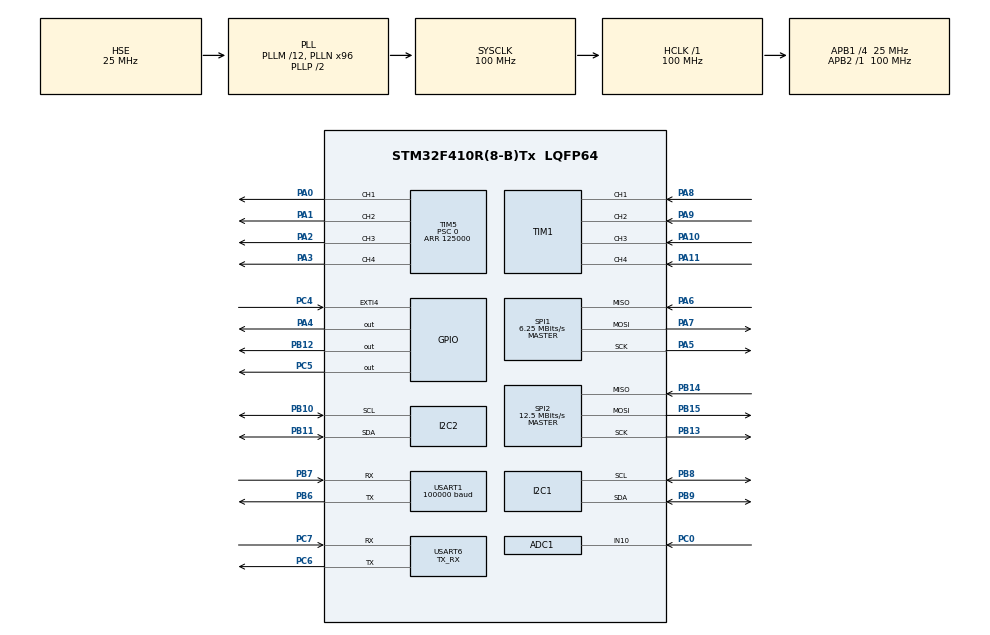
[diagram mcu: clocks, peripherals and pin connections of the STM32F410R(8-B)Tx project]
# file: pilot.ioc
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ADC1.Channel-0\#ChannelRegularConversion=ADC_CHANNEL_10
ADC1.ClockPrescaler=ADC_CLOCK_SYNC_PCLK_DIV4
ADC1.ContinuousConvMode=DISABLE
ADC1.DMAContinuousRequests=DISABLE
ADC1.DataAlign=ADC_DATAALIGN_RIGHT
ADC1.DiscontinuousConvMode=DISABLE
ADC1.EOCSelection=ADC_EOC_SINGLE_CONV
ADC1.EnableAnalogWatchDog=false
ADC1.ExternalTrigConv=ADC_SOFTWARE_START
ADC1.ExternalTrigConvEdge=ADC_EXTERNALTRIGCONVEDGE_NONE
ADC1.InjNumberOfConversion=0
ADC1.NbrOfConversion=1
ADC1.NbrOfConversionFlag=1
ADC1.Rank-0\#ChannelRegularConversion=1
ADC1.Resolution=ADC_RESOLUTION_12B
ADC1.SamplingTime-0\#ChannelRegularConversion=ADC_SAMPLETIME_3CYCLES
ADC1.ScanConvMode=DISABLE
ADC1.master=1
Dma.Request0=USART1_RX
Dma.USART1_RX.0.Direction=DMA_PERIPH_TO_MEMORY
Dma.USART1_RX.0.FIFOMode=DMA_FIFOMODE_DISABLE
Dma.USART1_RX.0.Instance=DMA2_Stream2
Dma.USART1_RX.0.MemDataAlignment=DMA_MDATAALIGN_BYTE
Dma.USART1_RX.0.MemInc=DMA_MINC_ENABLE
Dma.USART1_RX.0.Mode=DMA_NORMAL
Dma.USART1_RX.0.PeriphDataAlignment=DMA_PDATAALIGN_BYTE
Dma.USART1_RX.0.PeriphInc=DMA_PINC_DISABLE
Dma.USART1_RX.0.Priority=DMA_PRIORITY_LOW
I2C2.I2C_Mode=I2C_Fast
Mcu.Family=STM32F4
Mcu.Name=STM32F410R(8-B)Tx
Mcu.Package=LQFP64
NVIC.DMA2_Stream2_IRQn=true\:0\:0\:false\:false\:true
NVIC.EXTI4_IRQn=true\:0\:0\:false\:false\:true
NVIC.PriorityGroup=NVIC_PRIORITYGROUP_4
PA0-WKUP.Signal=S_TIM5_CH1
PA1.Signal=S_TIM5_CH2
PA10.Signal=S_TIM1_CH3
PA11.Signal=S_TIM1_CH4
PA13.Mode=JTAG_5_pins
PA13.Signal=SYS_JTMS-SWDIO
PA14.Mode=JTAG_5_pins
PA14.Signal=SYS_JTCK-SWCLK
PA15.Mode=JTAG_5_pins
PA15.Signal=SYS_JTDI
PA2.Signal=S_TIM5_CH3
PA3.Signal=S_TIM5_CH4
PA4.Signal=GPIO_Output
PA5.Mode=Full_Duplex_Master
PA5.Signal=SPI1_SCK
PA6.Mode=Full_Duplex_Master
PA6.Signal=SPI1_MISO
PA7.Mode=Full_Duplex_Master
PA7.Signal=SPI1_MOSI
PA8.Signal=S_TIM1_CH1
PA9.Signal=S_TIM1_CH2
PB10.Mode=I2C
PB10.Signal=I2C2_SCL
PB11.Mode=I2C
PB11.Signal=I2C2_SDA
PB12.Signal=GPIO_Output
PB13.Mode=Full_Duplex_Master
PB13.Signal=SPI2_SCK
PB14.Mode=Full_Duplex_Master
PB14.Signal=SPI2_MISO
PB15.Mode=Full_Duplex_Master
PB15.Signal=SPI2_MOSI
PB3.Mode=JTAG_5_pins
PB3.Signal=SYS_JTDO-SWO
PB4.Mode=JTAG_5_pins
PB4.Signal=SYS_JTRST
PB6.Mode=Asynchronous
PB6.Signal=USART1_TX
PB7.Mode=Asynchronous
PB7.Signal=USART1_RX
PB8.Mode=I2C
PB8.Signal=I2C1_SCL
PB9.Mode=I2C
PB9.Signal=I2C1_SDA
PC0.Signal=ADCx_IN10
PC4.Signal=GPXTI4
PC5.Signal=GPIO_Output
PC6.Mode=Asynchronous
PC6.Signal=USART6_TX
PC7.Mode=Asynchronous
PC7.Signal=USART6_RX
PH0\ -\ OSC_IN.Mode=HSE-External-Oscillator
PH0\ -\ OSC_IN.Signal=RCC_OSC_IN
PH1\ -\ OSC_OUT.Mode=HSE-External-Oscillator
PH1\ -\ OSC_OUT.Signal=RCC_OSC_OUT
ProjectManager.HeapSize=0x200
ProjectManager.StackSize=0x400
ProjectManager.TargetToolchain=TrueSTUDIO
RCC.48MHZClocksFreq_Value=50000000
RCC.AHBFreq_Value=100000000
RCC.APB1CLKDivider=RCC_HCLK_DIV4
RCC.APB1Freq_Value=25000000
RCC.APB1TimFreq_Value=50000000
RCC.APB2Freq_Value=100000000
RCC.APB2TimFreq_Value=100000000
RCC.CortexFreq_Value=100000000
RCC.HCLKFreq_Value=100000000
RCC.HSE_VALUE=25000000
RCC.HSI_VALUE=16000000
RCC.LSE_VALUE=32768
RCC.PLLM=12
RCC.PLLN=96
RCC.PLLSourceVirtual=RCC_PLLSOURCE_HSE
RCC.SYSCLKFreq_VALUE=100000000
RCC.SYSCLKSource=RCC_SYSCLKSOURCE_PLLCLK
RCC.VCOOutputFreq_Value=200000000
SH.ADCx_IN10.0=ADC1_IN10,IN10
SH.S_TIM1_CH1.0=TIM1_CH1,Input_Capture1_from_TI1
SH.S_TIM1_CH2.0=TIM1_CH2,Input_Capture2_from_TI2
SH.S_TIM1_CH3.0=TIM1_CH3,Input_Capture3_from_TI3
SH.S_TIM1_CH4.0=TIM1_CH4,Input_Capture4_from_TI4
SH.S_TIM5_CH1.0=TIM5_CH1,PWM Generation1 CH1
SH.S_TIM5_CH2.0=TIM5_CH2,PWM Generation2 CH2
SH.S_TIM5_CH3.0=TIM5_CH3,PWM Generation3 CH3
SH.S_TIM5_CH4.0=TIM5_CH4,PWM Generation4 CH4
SPI1.BaudRatePrescaler=SPI_BAUDRATEPRESCALER_16
SPI1.CLKPhase=SPI_PHASE_2EDGE
SPI1.CLKPolarity=SPI_POLARITY_HIGH
SPI1.CalculateBaudRate=6.25 MBits/s
SPI1.Direction=SPI_DIRECTION_2LINES
SPI1.Mode=SPI_MODE_MASTER
SPI1.VirtualType=VM_MASTER
SPI2.BaudRatePrescaler=SPI_BAUDRATEPRESCALER_2
SPI2.CalculateBaudRate=12.5 MBits/s
SPI2.Direction=SPI_DIRECTION_2LINES
SPI2.Mode=SPI_MODE_MASTER
SPI2.VirtualType=VM_MASTER
TIM1.Channel-Input_Capture1_from_TI1=TIM_CHANNEL_1
TIM1.Channel-Input_Capture2_from_TI2=TIM_CHANNEL_2
TIM1.Channel-Input_Capture3_from_TI3=TIM_CHANNEL_3
TIM1.Channel-Input_Capture4_from_TI4=TIM_CHANNEL_4
TIM5.Channel-PWM\ Generation1\ CH1=TIM_CHANNEL_1
TIM5.Channel-PWM\ Generation2\ CH2=TIM_CHANNEL_2
TIM5.Channel-PWM\ Generation3\ CH3=TIM_CHANNEL_3
TIM5.Channel-PWM\ Generation4\ CH4=TIM_CHANNEL_4
TIM5.OCPolarity_1=TIM_OCPOLARITY_HIGH
TIM5.OCPolarity_2=TIM_OCPOLARITY_HIGH
TIM5.OCPolarity_3=TIM_OCPOLARITY_HIGH
TIM5.OCPolarity_4=TIM_OCPOLARITY_HIGH
TIM5.Period=125000
TIM5.Prescaler=0
USART1.BaudRate=100000
USART1.Mode=MODE_RX
USART1.Parity=PARITY_EVEN
USART1.StopBits=STOPBITS_2
USART1.VirtualMode=VM_ASYNC
USART1.WordLength=WORDLENGTH_9B
USART6.Mode=MODE_TX_RX
USART6.VirtualMode=VM_ASYNC
board=pilot

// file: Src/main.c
/**
  ******************************************************************************
  * File Name          : main.c
  * Description        : Main program body
  ******************************************************************************
  *
  * COPYRIGHT(c) 2017 STMicroelectronics
  *
  * Redistribution and use in source and binary forms, with or without modification,
  * are permitted provided that the following conditions are met:
  *   1. Redistributions of source code must retain the above copyright notice,
  *      this list of conditions and the following disclaimer.
  *   2. Redistributions in binary form must reproduce the above copyright notice,
  *      this list of conditions and the following disclaimer in the documentation
  *      and/or other materials provided with the distribution.
  *   3. Neither the name of STMicroelectronics nor the names of its contributors
  *      may be used to endorse or promote products derived from this software
  *      without specific prior written permission.
  *
  * THIS SOFTWARE IS PROVIDED BY THE COPYRIGHT HOLDERS AND CONTRIBUTORS "AS IS"
  * AND ANY EXPRESS OR IMPLIED WARRANTIES, INCLUDING, BUT NOT LIMITED TO, THE
  * IMPLIED WARRANTIES OF MERCHANTABILITY AND FITNESS FOR A PARTICULAR PURPOSE ARE
  * DISCLAIMED. IN NO EVENT SHALL THE COPYRIGHT HOLDER OR CONTRIBUTORS BE LIABLE
  * FOR ANY DIRECT, INDIRECT, INCIDENTAL, SPECIAL, EXEMPLARY, OR CONSEQUENTIAL
  * DAMAGES (INCLUDING, BUT NOT LIMITED TO, PROCUREMENT OF SUBSTITUTE GOODS OR
  * SERVICES; LOSS OF USE, DATA, OR PROFITS; OR BUSINESS INTERRUPTION) HOWEVER
  * CAUSED AND ON ANY THEORY OF LIABILITY, WHETHER IN CONTRACT, STRICT LIABILITY,
  * OR TORT (INCLUDING NEGLIGENCE OR OTHERWISE) ARISING IN ANY WAY OUT OF THE USE
  * OF THIS SOFTWARE, EVEN IF ADVISED OF THE POSSIBILITY OF SUCH DAMAGE.
  *
  ******************************************************************************
  */
#include "main.h"
#include "stm32f4xx_hal.h"

/* USER CODE BEGIN Includes */

#include <string.h>

#include "ICM20689.h"
#include "MS5637.h"
#include "AxisFusion.h"
#include "Common.h"
#include "Quaternion.h"
#include "Motors.h"
#include "PID.h"

/* USER CODE END Includes */

ADC_HandleTypeDef hadc1;

I2C_HandleTypeDef hi2c1;
I2C_HandleTypeDef hi2c2;

SPI_HandleTypeDef hspi1;
SPI_HandleTypeDef hspi2;

TIM_HandleTypeDef htim1;
TIM_HandleTypeDef htim5;

UART_HandleTypeDef huart1;
UART_HandleTypeDef huart6;
DMA_HandleTypeDef hdma_usart1_rx;

void SystemClock_Config(void);
void Error_Handler(void);
static void MX_GPIO_Init(void);
static void MX_DMA_Init(void);
static void MX_I2C1_Init(void);
static void MX_SPI1_Init(void);
static void MX_SPI2_Init(void);
static void MX_TIM1_Init(void);
static void MX_TIM5_Init(void);
static void MX_USART1_UART_Init(void);
static void MX_USART6_UART_Init(void);
static void MX_I2C2_Init(void);
static void MX_ADC1_Init(void);

void HAL_TIM_MspPostInit(TIM_HandleTypeDef *htim);

/* USER CODE BEGIN 0 */

static const float Kp = 3.0f;
static const float Ki = 0.08f;
static const float Kd = 10.0f;
static const float i_limit = 100.0f;

static const float Kp_yaw = 8.0f;
static const float Ki_yaw = 0.4f;
static const float Kd_yaw = 0.0f;
static const float i_limit_yaw = 40.0f;

static const float _control_angle = 30.0f;
static const float _yaw_max_rate = 60.0f;

static volatile uint8_t _imu_data_ready = 0;
static volatile uint16_t _missed_imu_data = 0;

static float _orientation[4] = { 1.0f, 0.0f, 0.0f, 0.0f }; // Quaternion
static float _reference_orientation[4] = { 1.0f, 0.0f, 0.0f, 0.0f };

static uint16_t _throttle = 0;
static float _target_yaw_rate = 0.0f;
static float _target_pitch = 0.0f;
static float _target_roll = 0.0f;

static PID _pid_pitch;
static PID _pid_roll;
static PID _pid_yaw;

static volatile uint8_t _receiver_data_ready = 0;
static volatile struct
{
	uint16_t channels[16];
	uint8_t fail_safe;
} _receiver_data;

#define BATTERY_VOLTAGE_PERIOD		1000
#define BATTERY_LOW_THRESHOLD		10.8f
#define BATTERY_VOLTAGE_MULTIPLIER	3.794f
#define THROTTLE_THRESHOLD			150

#define SBUS_CHANNEL_MIN 				172
#define SBUS_CHANNEL_MAX 				1811
#define SBUS_CHANENL_RANGE				(SBUS_CHANNEL_MAX - SBUS_CHANNEL_MIN)

void HAL_GPIO_EXTI_Callback(uint16_t GPIO_Pin)
{
	if (GPIO_Pin == GPIO_PIN_4)
	{
		// TODO need to disable interrupts before doing SPI stuff?

		if (!_imu_data_ready)
		{
			if (ICM20689_DataReady())
				_imu_data_ready = 1;
		}
		else
		{
			_missed_imu_data++;
		}

		// TODO handle cases where the interrupt was generated because of another reason...
	}
}

static uint8_t _uart_rx_data_buffer[32];
static uint8_t _uart_tx_data_buffer[32];

void HAL_UART_RxCpltCallback(UART_HandleTypeDef* huart)
{
	if (!_receiver_data_ready)
	{
		if (_uart_rx_data_buffer[0] == 0x0F && _uart_rx_data_buffer[24] == 0x00)
		{
			uint8_t* payload = &_uart_rx_data_buffer[1];

			_receiver_data.channels[0]  = (uint16_t)((payload[0]    | payload[1] << 8) & 0x07FF);
			_receiver_data.channels[1]  = (uint16_t)((payload[1] >> 3 | payload[2] << 5) & 0x07FF);
			_receiver_data.channels[2]  = (uint16_t)((payload[2] >> 6 | payload[3] << 2 | payload[4] << 10) & 0x07FF);
			_receiver_data.channels[3]  = (uint16_t)((payload[4] >> 1 | payload[5] << 7) & 0x07FF);
			_receiver_data.channels[4]  = (uint16_t)((payload[5] >> 4 | payload[6] << 4) & 0x07FF);
			_receiver_data.channels[5]  = (uint16_t)((payload[6] >> 7 | payload[7] << 1 | payload[8] << 9) & 0x07FF);
			_receiver_data.channels[6]  = (uint16_t)((payload[8] >> 2 | payload[9] << 6) & 0x07FF);
			_receiver_data.channels[7]  = (uint16_t)((payload[9] >> 5 | payload[10] << 3) & 0x07FF);
			_receiver_data.channels[8]  = (uint16_t)((payload[11]   | payload[12] << 8) & 0x07FF);
			_receiver_data.channels[9]  = (uint16_t)((payload[12] >> 3 | payload[13] << 5) & 0x07FF);
			_receiver_data.channels[10] = (uint16_t)((payload[13] >> 6 | payload[14] << 2 | payload[15] << 10) & 0x07FF);
			_receiver_data.channels[11] = (uint16_t)((payload[15] >> 1 | payload[16] << 7) & 0x07FF);
			_receiver_data.channels[12] = (uint16_t)((payload[16] >> 4 | payload[17] << 4) & 0x07FF);
			_receiver_data.channels[13] = (uint16_t)((payload[17] >> 7 | payload[18] << 1 | payload[19] << 9) & 0x07FF);
			_receiver_data.channels[14] = (uint16_t)((payload[19] >> 2 | payload[20] << 6) & 0x07FF);
			_receiver_data.channels[15] = (uint16_t)((payload[20] >> 5 | payload[21] << 3) & 0x07FF);

			_receiver_data.fail_safe = (payload[22] & 0x08);

			_receiver_data_ready = 1;
		}
	}
	else
	{
		// TODO increment some dropped counter
	}

	// TODO can this be replaced by configuring the DMA as circular?
	HAL_UART_Receive_DMA(&huart1, _uart_rx_data_buffer, 25);
}

static void CalculateBias(float* gyro_bias, float* accel_bias);

/* USER CODE END 0 */

int main(void)
{

  /* MCU Configuration----------------------------------------------------------*/

  /* Reset of all peripherals, Initializes the Flash interface and the Systick. */
	HAL_Init();

	  /* Configure the system clock */
	SystemClock_Config();

	  /* Initialize all configured peripherals */
	MX_GPIO_Init();
	MX_DMA_Init();
	MX_I2C1_Init();
	MX_SPI1_Init();
	MX_SPI2_Init();
	MX_TIM1_Init();
	MX_TIM5_Init();
	MX_USART1_UART_Init();
	MX_USART6_UART_Init();
	MX_I2C2_Init();
	MX_ADC1_Init();

	  /* USER CODE BEGIN 2 */
	Motors_Init(&htim5);

	uint8_t error = ICM20689_Init(&hspi1, GPIOA, GPIO_PIN_4);

	if (error)
	{
		while (1)
		{
			HAL_GPIO_TogglePin(GPIOC, GPIO_PIN_5);
			HAL_Delay(500);
		}
	}

	_pid_pitch.kp = Kp;
	_pid_pitch.ki = Ki;
	_pid_pitch.kd = Kd;
	_pid_pitch.i_limit = i_limit;
	_pid_pitch.error_sum = 0.0f;
	_pid_pitch.last_error = 0.0f;
	_pid_pitch.error = 0.0f;
	_pid_pitch.error_rate = 0.0f;

	_pid_roll.kp = Kp;
	_pid_roll.ki = Ki;
	_pid_roll.kd = Kd;
	_pid_roll.i_limit = i_limit;
	_pid_roll.error_sum = 0.0f;
	_pid_roll.last_error = 0.0f;
	_pid_roll.error = 0.0f;
	_pid_roll.error_rate = 0.0f;

	_pid_yaw.kp = Kp_yaw;
	_pid_yaw.ki = Ki_yaw;
	_pid_yaw.kd = Kd_yaw;
	_pid_yaw.i_limit = i_limit_yaw;
	_pid_yaw.error_sum = 0.0f;
	_pid_yaw.last_error = 0.0f;
	_pid_yaw.error = 0.0f;
	_pid_yaw.error_rate = 0.0f;

  /* USER CODE END 2 */

  /* Infinite loop */

  /* USER CODE BEGIN 3 */

	float gyro_bias[3] = { 0.503540, 1.441956, 0.129700 };
	float accel_bias[3] = { -0.000305, -0.004944, 0.017456 };
//	CalculateBias(gyro_bias, accel_bias);
//
//	uint8_t output[128] = { 0 };
//	sprintf((char*)output, "%f, %f, %f\r\n%f, %f, %f\r\n", gyro_bias[0], gyro_bias[1], gyro_bias[2], accel_bias[0], accel_bias[1], accel_bias[2]);
//	HAL_UART_Transmit(&huart6, output, strlen((char*)output), 100);

	gyro_bias[0] *= -1;
	gyro_bias[1] *= -1;
	gyro_bias[2] *= -1;
	ICM20689_SetLocalGyroBias(gyro_bias);

	accel_bias[0] *= -1;
	accel_bias[1] *= -1;
	accel_bias[2] *= -1;
	ICM20689_SetLocalAccelBias(accel_bias);

	// SBUS is sending every 4 ms, so we wait to synchronize

	while (1)
	{
		if (HAL_TIMEOUT == HAL_UART_Receive(&huart1, _uart_rx_data_buffer, 1, 2))
		{
			HAL_UART_Receive_DMA(&huart1, _uart_rx_data_buffer, 25);
			break;
		}
	}

	uint8_t fail_safe = 1;

	uint32_t now = HAL_GetTick();
	uint32_t last = now;

	uint32_t battery_voltage_timer = 0;
	uint32_t test_timer = 0;
	uint32_t hz_timer = 0;

	uint32_t hz_counter = 0;

	uint8_t cmd;

	// Barometer test

	//MS5637_Init(&hi2c2, 0x76);

//	cmd = 0x1E;
//	if (HAL_I2C_Master_Transmit(&hi2c2, 0b11101100, &cmd, 1, 100) != HAL_OK)
//	{
//		while (1)
//		{
//			HAL_GPIO_TogglePin(GPIOC, GPIO_PIN_5);
//			HAL_Delay(500);
//		}
//	}
//
//	cmd = 0xA0;
//	HAL_I2C_Master_Transmit(&hi2c2, 0b11101100, &cmd, 1, 100);
//	uint16_t data = 0;
//	HAL_I2C_Master_Receive(&hi2c2, 0b11101101, (uint8_t*)&data, 2, 100);

	// Magnetometer test

//	cmd = 0x07;
//	HAL_I2C_Master_Transmit(&hi2c2, 0x0E << 1, &cmd, 1, 100);
//	uint8_t id = 0;
//	HAL_I2C_Master_Receive(&hi2c2, (0x0E << 1) | 0x01, (uint8_t*)&id, 1, 100);

	float battery_voltage = 12.6f;
	float battery_voltage_idle = 12.6f;

	// TODO intialize those with actual values from the ADC

	while (1)
	{
		now = HAL_GetTick(); // TODO handle rollover
		uint32_t dt_ms = now - last;
		last = now;

		battery_voltage_timer += dt_ms;
		test_timer += dt_ms;
		hz_timer += dt_ms;

		if (_receiver_data_ready)
		{
			uint16_t throttle = ((_receiver_data.channels[0] - SBUS_CHANNEL_MIN) / (float)SBUS_CHANENL_RANGE) * 1000.0f;

			if (throttle > 800)
				_throttle = 800;
			else
				_throttle = throttle;

//
//			if (throttle > 500)
//				throttle = 1000;
//			else
//				throttle = 0;
//
//			float motors[4];
//
//			motors[0] = throttle; // Back Right
//			motors[1] = throttle; // Back Left
//			motors[2] = throttle; // Front Right
//			motors[3] = throttle; // Front Left
//
//			Motors_Set(motors);

			_target_yaw_rate = ((_receiver_data.channels[3] - SBUS_CHANNEL_MIN) * (_yaw_max_rate / SBUS_CHANENL_RANGE)) - (_yaw_max_rate / 2.0f);
			_target_pitch = ((_receiver_data.channels[2] - SBUS_CHANNEL_MIN) * (_control_angle / SBUS_CHANENL_RANGE)) - (_control_angle / 2.0f);
			_target_roll = ((_receiver_data.channels[1] - SBUS_CHANNEL_MIN) * (_control_angle / SBUS_CHANENL_RANGE)) - (_control_angle / 2.0f);

			_target_yaw_rate *= -1;

			fail_safe = _receiver_data.fail_safe;

//			if (test_timer >= 10)
//			{
//				test_timer = 0;
//				uint8_t output[32] = { 0 };
//				sprintf((char*)output, "%f, %f, %f\r\n", _target_pitch, _target_yaw_rate, _target_roll);
//				HAL_UART_Transmit(&huart6, output, strlen((char*)output), 100);
//			}

			_receiver_data_ready = 0;
		}

//		if (test_timer >= 10)
//		{
//			test_timer = 0;
//			uint8_t output[64] = { 0 };
//			sprintf((char*)output, "%d, %d\r\n", fail_safe, _throttle);
//			HAL_UART_Transmit(&huart6, output, strlen((char*)output), 1000);
//		}

		if (fail_safe)
		{
			float motors[4] = { 0 };
			Motors_Set(motors);
			continue;
		}

//		if (battery_voltage_timer >= BATTERY_VOLTAGE_PERIOD)
//		{
//			battery_voltage_timer = 0;
//
//			HAL_StatusTypeDef status = HAL_ADC_Start(&hadc1);
//			status = HAL_ADC_PollForConversion(&hadc1, 10);
//
//			if (status != HAL_TIMEOUT)
//			{
//				uint32_t val = HAL_ADC_GetValue(&hadc1);
//				float voltage = (3.3f / 4096.0f) * val;
//				battery_voltage = voltage * BATTERY_VOLTAGE_MULTIPLIER;
//
//				if (_throttle < THROTTLE_THRESHOLD)
//					battery_voltage_idle = voltage * BATTERY_VOLTAGE_MULTIPLIER;
//
////				uint8_t output[64] = { 0 };
////				sprintf((char*)output, "%d, %f, %f\r\n", _throttle, battery_voltage, battery_voltage_idle);
////				HAL_UART_Transmit(&huart6, output, strlen((char*)output), 1000);
//
//				// TODO averaging samples?
//			}
//			else
//			{
//				battery_voltage = 0.0f;
//			}
//
//			HAL_ADC_Stop(&hadc1);
//		}

//		if (battery_voltage_idle <= BATTERY_LOW_THRESHOLD)
//		{
//			float motors[4] = { 0 };
//			Motors_Set(motors);
//
//			HAL_GPIO_WritePin(GPIOC, GPIO_PIN_5, GPIO_PIN_SET);
//			HAL_Delay(200);
//			HAL_GPIO_WritePin(GPIOC, GPIO_PIN_5, GPIO_PIN_RESET);
//			HAL_Delay(200);
//			HAL_GPIO_WritePin(GPIOC, GPIO_PIN_5, GPIO_PIN_SET);
//			HAL_Delay(200);
//			HAL_GPIO_WritePin(GPIOC, GPIO_PIN_5, GPIO_PIN_RESET);
//			HAL_Delay(1000);
//		}

		if (_imu_data_ready)
		{
			_imu_data_ready = 0;

			float gyro[3];
			float accel[3];
			ICM20689_ReadGyro(gyro);
			ICM20689_ReadAccel(accel);
//
//			hz_counter++;
//
//			if (hz_timer >= 1000)
//			{
//				hz_timer = 0;
//				uint8_t output[16] = { 0 };
//				sprintf((char*)output, "%d\r\n", hz_counter);
//				hz_counter = 0;
//				HAL_UART_Transmit(&huart6, output, strlen((char*)output), 100);
//			}

			AxisFusion_MahonyAHRSupdateIMU(_orientation, gyro[0]*PI / 180.0f, gyro[1]*PI / 180.0f, gyro[2]*PI / 180.0f, accel[0], accel[1], accel[2]);

			float quat[4];
			Quaternion_Multiply(_reference_orientation, _orientation, quat);

			float pitch, roll, yaw;
			Quaternion_ToEuler(quat, &pitch, &roll, &yaw);

			pitch *= 180.0f / PI;
			yaw *= 180.0f / PI;
			roll *= 180.0f / PI;

//			if (test_timer >= 100)
//			{
//				test_timer = 0;
//				uint8_t output[32] = { 0 };
//				sprintf((char*)output, "%.2f, %.2f, %.2f\r\n", pitch, yaw, roll);
//				HAL_UART_Transmit(&huart6, output, strlen((char*)output), 100);
//			}

			float output_pitch = 0.0f;
			float output_roll = 0.0f;
			float output_yaw = 0.0f;

			float dt_ms = 0.01f; // TODO IMPORTANTTTTTTTTTTTTTTTTTTTTTTTTTTTTTTTTTTTTTTTTTTTTTTTTTTTTTTTTTTTTTTTTTTTTT

			if (_throttle >= THROTTLE_THRESHOLD)
			{
				output_pitch = PID_Compute(&_pid_pitch, _target_pitch, pitch, dt_ms);
				output_roll = PID_Compute(&_pid_roll, _target_roll, roll, dt_ms);
				output_yaw = PID_Compute(&_pid_yaw, _target_yaw_rate, gyro[2] * (PI / 180.0f), dt_ms);
			}
			else
			{
				_pid_pitch.error_sum = 0.0f;
				_pid_roll.error_sum = 0.0f;
				_pid_yaw.error_sum = 0.0f;
			}

			float motors[4];

			motors[0] = _throttle + output_pitch - output_roll + output_yaw; // Back Right
			motors[1] = _throttle + output_pitch + output_roll - output_yaw; // Back Left
			motors[2] = _throttle - output_pitch - output_roll - output_yaw; // Front Right
			motors[3] = _throttle - output_pitch + output_roll + output_yaw; // Front Left

			Motors_Set(motors);

//			if (test_timer >= 10)
//			{
//				test_timer = 0;
//				uint8_t output[64] = { 0 };
//				sprintf((char*)output, "%.2f, %.2f, %.2f\r\n", output_pitch, output_roll, output_yaw);
//				HAL_UART_Transmit(&huart6, output, strlen((char*)output), 1000);
//			}

//			if (test_timer >= 10)
//			{
//				test_timer = 0;
//				uint8_t output[64] = { 0 };
//				sprintf((char*)output, "%.2f, %.2f, %.2f, %.2f\n", motors[0], motors[1], motors[2], motors[3]);
//				HAL_UART_Transmit(&huart6, output, strlen((char*)output), 1000);
//			}

		}
	}

  /* USER CODE END 3 */

}

/** System Clock Configuration
*/
void SystemClock_Config(void)
{

	RCC_OscInitTypeDef RCC_OscInitStruct;
	RCC_ClkInitTypeDef RCC_ClkInitStruct;

	    /**Configure the main internal regulator output voltage
	    */
	__HAL_RCC_PWR_CLK_ENABLE();

	__HAL_PWR_VOLTAGESCALING_CONFIG(PWR_REGULATOR_VOLTAGE_SCALE1);

	    /**Initializes the CPU, AHB and APB busses clocks
	    */
	RCC_OscInitStruct.OscillatorType = RCC_OSCILLATORTYPE_HSE;
	RCC_OscInitStruct.HSEState = RCC_HSE_ON;
	RCC_OscInitStruct.PLL.PLLState = RCC_PLL_ON;
	RCC_OscInitStruct.PLL.PLLSource = RCC_PLLSOURCE_HSE;
	RCC_OscInitStruct.PLL.PLLM = 12;
	RCC_OscInitStruct.PLL.PLLN = 96;
	RCC_OscInitStruct.PLL.PLLP = RCC_PLLP_DIV2;
	RCC_OscInitStruct.PLL.PLLQ = 4;
	RCC_OscInitStruct.PLL.PLLR = 2;
	if (HAL_RCC_OscConfig(&RCC_OscInitStruct) != HAL_OK)
	{
		Error_Handler();
	}

	    /**Initializes the CPU, AHB and APB busses clocks
	    */
	RCC_ClkInitStruct.ClockType = RCC_CLOCKTYPE_HCLK | RCC_CLOCKTYPE_SYSCLK
	                            | RCC_CLOCKTYPE_PCLK1 | RCC_CLOCKTYPE_PCLK2;
	RCC_ClkInitStruct.SYSCLKSource = RCC_SYSCLKSOURCE_PLLCLK;
	RCC_ClkInitStruct.AHBCLKDivider = RCC_SYSCLK_DIV1;
	RCC_ClkInitStruct.APB1CLKDivider = RCC_HCLK_DIV4;
	RCC_ClkInitStruct.APB2CLKDivider = RCC_HCLK_DIV1;

	if (HAL_RCC_ClockConfig(&RCC_ClkInitStruct, FLASH_LATENCY_3) != HAL_OK)
	{
		Error_Handler();
	}

	    /**Configure the Systick interrupt time
	    */
	HAL_SYSTICK_Config(HAL_RCC_GetHCLKFreq() / 1000);

	    /**Configure the Systick
	    */
	HAL_SYSTICK_CLKSourceConfig(SYSTICK_CLKSOURCE_HCLK);

	  /* SysTick_IRQn interrupt configuration */
	HAL_NVIC_SetPriority(SysTick_IRQn, 0, 0);
}

/* ADC1 init function */
static void MX_ADC1_Init(void)
{

	ADC_ChannelConfTypeDef sConfig;

	    /**Configure the global features of the ADC (Clock, Resolution, Data Alignment and number of conversion)
	    */
	hadc1.Instance = ADC1;
	hadc1.Init.ClockPrescaler = ADC_CLOCK_SYNC_PCLK_DIV4;
	hadc1.Init.Resolution = ADC_RESOLUTION_12B;
	hadc1.Init.ScanConvMode = DISABLE;
	hadc1.Init.ContinuousConvMode = DISABLE;
	hadc1.Init.DiscontinuousConvMode = DISABLE;
	hadc1.Init.ExternalTrigConvEdge = ADC_EXTERNALTRIGCONVEDGE_NONE;
	hadc1.Init.ExternalTrigConv = ADC_SOFTWARE_START;
	hadc1.Init.DataAlign = ADC_DATAALIGN_RIGHT;
	hadc1.Init.NbrOfConversion = 1;
	hadc1.Init.DMAContinuousRequests = DISABLE;
	hadc1.Init.EOCSelection = ADC_EOC_SINGLE_CONV;
	if (HAL_ADC_Init(&hadc1) != HAL_OK)
	{
		Error_Handler();
	}

	    /**Configure for the selected ADC regular channel its corresponding rank in the sequencer and its sample time.
	    */
	sConfig.Channel = ADC_CHANNEL_10;
	sConfig.Rank = 1;
	sConfig.SamplingTime = ADC_SAMPLETIME_3CYCLES;
	if (HAL_ADC_ConfigChannel(&hadc1, &sConfig) != HAL_OK)
	{
		Error_Handler();
	}

}

/* I2C1 init function */
static void MX_I2C1_Init(void)
{

	hi2c1.Instance = I2C1;
	hi2c1.Init.ClockSpeed = 100000;
	hi2c1.Init.DutyCycle = I2C_DUTYCYCLE_2;
	hi2c1.Init.OwnAddress1 = 0;
	hi2c1.Init.AddressingMode = I2C_ADDRESSINGMODE_7BIT;
	hi2c1.Init.DualAddressMode = I2C_DUALADDRESS_DISABLE;
	hi2c1.Init.OwnAddress2 = 0;
	hi2c1.Init.GeneralCallMode = I2C_GENERALCALL_DISABLE;
	hi2c1.Init.NoStretchMode = I2C_NOSTRETCH_DISABLE;
	if (HAL_I2C_Init(&hi2c1) != HAL_OK)
	{
		Error_Handler();
	}

}

/* I2C2 init function */
static void MX_I2C2_Init(void)
{

	hi2c2.Instance = I2C2;
	hi2c2.Init.ClockSpeed = 400000;
	hi2c2.Init.DutyCycle = I2C_DUTYCYCLE_2;
	hi2c2.Init.OwnAddress1 = 0;
	hi2c2.Init.AddressingMode = I2C_ADDRESSINGMODE_7BIT;
	hi2c2.Init.DualAddressMode = I2C_DUALADDRESS_DISABLE;
	hi2c2.Init.OwnAddress2 = 0;
	hi2c2.Init.GeneralCallMode = I2C_GENERALCALL_DISABLE;
	hi2c2.Init.NoStretchMode = I2C_NOSTRETCH_DISABLE;
	if (HAL_I2C_Init(&hi2c2) != HAL_OK)
	{
		Error_Handler();
	}

}

/* SPI1 init function */
static void MX_SPI1_Init(void)
{

	hspi1.Instance = SPI1;
	hspi1.Init.Mode = SPI_MODE_MASTER;
	hspi1.Init.Direction = SPI_DIRECTION_2LINES;
	hspi1.Init.DataSize = SPI_DATASIZE_8BIT;
	hspi1.Init.CLKPolarity = SPI_POLARITY_HIGH;
	hspi1.Init.CLKPhase = SPI_PHASE_2EDGE;
	hspi1.Init.NSS = SPI_NSS_SOFT;
	hspi1.Init.BaudRatePrescaler = SPI_BAUDRATEPRESCALER_16;
	hspi1.Init.FirstBit = SPI_FIRSTBIT_MSB;
	hspi1.Init.TIMode = SPI_TIMODE_DISABLE;
	hspi1.Init.CRCCalculation = SPI_CRCCALCULATION_DISABLE;
	hspi1.Init.CRCPolynomial = 15;
	if (HAL_SPI_Init(&hspi1) != HAL_OK)
	{
		Error_Handler();
	}

}

/* SPI2 init function */
static void MX_SPI2_Init(void)
{

	hspi2.Instance = SPI2;
	hspi2.Init.Mode = SPI_MODE_MASTER;
	hspi2.Init.Direction = SPI_DIRECTION_2LINES;
	hspi2.Init.DataSize = SPI_DATASIZE_8BIT;
	hspi2.Init.CLKPolarity = SPI_POLARITY_LOW;
	hspi2.Init.CLKPhase = SPI_PHASE_1EDGE;
	hspi2.Init.NSS = SPI_NSS_SOFT;
	hspi2.Init.BaudRatePrescaler = SPI_BAUDRATEPRESCALER_2;
	hspi2.Init.FirstBit = SPI_FIRSTBIT_MSB;
	hspi2.Init.TIMode = SPI_TIMODE_DISABLE;
	hspi2.Init.CRCCalculation = SPI_CRCCALCULATION_DISABLE;
	hspi2.Init.CRCPolynomial = 15;
	if (HAL_SPI_Init(&hspi2) != HAL_OK)
	{
		Error_Handler();
	}

}

/* TIM1 init function */
static void MX_TIM1_Init(void)
{

	TIM_MasterConfigTypeDef sMasterConfig;
	TIM_IC_InitTypeDef sConfigIC;

	htim1.Instance = TIM1;
	htim1.Init.Prescaler = 0;
	htim1.Init.CounterMode = TIM_COUNTERMODE_UP;
	htim1.Init.Period = 0;
	htim1.Init.ClockDivision = TIM_CLOCKDIVISION_DIV1;
	htim1.Init.RepetitionCounter = 0;
	if (HAL_TIM_IC_Init(&htim1) != HAL_OK)
	{
		Error_Handler();
	}

	sMasterConfig.MasterOutputTrigger = TIM_TRGO_RESET;
	sMasterConfig.MasterSlaveMode = TIM_MASTERSLAVEMODE_DISABLE;
	if (HAL_TIMEx_MasterConfigSynchronization(&htim1, &sMasterConfig) != HAL_OK)
	{
		Error_Handler();
	}

	sConfigIC.ICPolarity = TIM_INPUTCHANNELPOLARITY_RISING;
	sConfigIC.ICSelection = TIM_ICSELECTION_DIRECTTI;
	sConfigIC.ICPrescaler = TIM_ICPSC_DIV1;
	sConfigIC.ICFilter = 0;
	if (HAL_TIM_IC_ConfigChannel(&htim1, &sConfigIC, TIM_CHANNEL_1) != HAL_OK)
	{
		Error_Handler();
	}

	if (HAL_TIM_IC_ConfigChannel(&htim1, &sConfigIC, TIM_CHANNEL_2) != HAL_OK)
	{
		Error_Handler();
	}

	if (HAL_TIM_IC_ConfigChannel(&htim1, &sConfigIC, TIM_CHANNEL_3) != HAL_OK)
	{
		Error_Handler();
	}

	if (HAL_TIM_IC_ConfigChannel(&htim1, &sConfigIC, TIM_CHANNEL_4) != HAL_OK)
	{
		Error_Handler();
	}

}

/* TIM5 init function */
static void MX_TIM5_Init(void)
{

	TIM_MasterConfigTypeDef sMasterConfig;
	TIM_OC_InitTypeDef sConfigOC;

	htim5.Instance = TIM5;
	htim5.Init.Prescaler = 0;
	htim5.Init.CounterMode = TIM_COUNTERMODE_UP;
	htim5.Init.Period = 125000;
	htim5.Init.ClockDivision = TIM_CLOCKDIVISION_DIV1;
	if (HAL_TIM_PWM_Init(&htim5) != HAL_OK)
	{
		Error_Handler();
	}

	sMasterConfig.MasterOutputTrigger = TIM_TRGO_RESET;
	sMasterConfig.MasterSlaveMode = TIM_MASTERSLAVEMODE_DISABLE;
	if (HAL_TIMEx_MasterConfigSynchronization(&htim5, &sMasterConfig) != HAL_OK)
	{
		Error_Handler();
	}

	sConfigOC.OCMode = TIM_OCMODE_PWM1;
	sConfigOC.Pulse = 0;
	sConfigOC.OCPolarity = TIM_OCPOLARITY_HIGH;
	sConfigOC.OCFastMode = TIM_OCFAST_DISABLE;
	if (HAL_TIM_PWM_ConfigChannel(&htim5, &sConfigOC, TIM_CHANNEL_1) != HAL_OK)
	{
		Error_Handler();
	}

	if (HAL_TIM_PWM_ConfigChannel(&htim5, &sConfigOC, TIM_CHANNEL_2) != HAL_OK)
	{
		Error_Handler();
	}

	if (HAL_TIM_PWM_ConfigChannel(&htim5, &sConfigOC, TIM_CHANNEL_3) != HAL_OK)
	{
		Error_Handler();
	}

	if (HAL_TIM_PWM_ConfigChannel(&htim5, &sConfigOC, TIM_CHANNEL_4) != HAL_OK)
	{
		Error_Handler();
	}

	HAL_TIM_MspPostInit(&htim5);

}

/* USART1 init function */
static void MX_USART1_UART_Init(void)
{

	huart1.Instance = USART1;
	huart1.Init.BaudRate = 100000;
	huart1.Init.WordLength = UART_WORDLENGTH_9B;
	huart1.Init.StopBits = UART_STOPBITS_2;
	huart1.Init.Parity = UART_PARITY_EVEN;
	huart1.Init.Mode = UART_MODE_RX;
	huart1.Init.HwFlowCtl = UART_HWCONTROL_NONE;
	huart1.Init.OverSampling = UART_OVERSAMPLING_16;
	if (HAL_UART_Init(&huart1) != HAL_OK)
	{
		Error_Handler();
	}

}

/* USART6 init function */
static void MX_USART6_UART_Init(void)
{

	huart6.Instance = USART6;
	huart6.Init.BaudRate = 115200;
	huart6.Init.WordLength = UART_WORDLENGTH_8B;
	huart6.Init.StopBits = UART_STOPBITS_1;
	huart6.Init.Parity = UART_PARITY_NONE;
	huart6.Init.Mode = UART_MODE_TX_RX;
	huart6.Init.HwFlowCtl = UART_HWCONTROL_NONE;
	huart6.Init.OverSampling = UART_OVERSAMPLING_16;
	if (HAL_UART_Init(&huart6) != HAL_OK)
	{
		Error_Handler();
	}

}

static void MX_DMA_Init(void)
{
  /* DMA controller clock enable */
	__HAL_RCC_DMA2_CLK_ENABLE();

	  /* DMA interrupt init */
	  /* DMA2_Stream2_IRQn interrupt configuration */
	HAL_NVIC_SetPriority(DMA2_Stream2_IRQn, 0, 0);
	HAL_NVIC_EnableIRQ(DMA2_Stream2_IRQn);

}

/** Configure pins as
        * Analog
        * Input
        * Output
        * EVENT_OUT
        * EXTI
*/
static void MX_GPIO_Init(void)
{

	GPIO_InitTypeDef GPIO_InitStruct;

	  /* GPIO Ports Clock Enable */
	__HAL_RCC_GPIOH_CLK_ENABLE();
	__HAL_RCC_GPIOC_CLK_ENABLE();
	__HAL_RCC_GPIOA_CLK_ENABLE();
	__HAL_RCC_GPIOB_CLK_ENABLE();

	  /*Configure GPIO pin Output Level */
	HAL_GPIO_WritePin(GPIOA, GPIO_PIN_4, GPIO_PIN_RESET);

	  /*Configure GPIO pin Output Level */
	HAL_GPIO_WritePin(GPIOC, GPIO_PIN_5, GPIO_PIN_RESET);

	  /*Configure GPIO pin Output Level */
	HAL_GPIO_WritePin(GPIOB, GPIO_PIN_12, GPIO_PIN_RESET);

	  /*Configure GPIO pin : PA4 */
	GPIO_InitStruct.Pin = GPIO_PIN_4;
	GPIO_InitStruct.Mode = GPIO_MODE_OUTPUT_PP;
	GPIO_InitStruct.Pull = GPIO_NOPULL;
	GPIO_InitStruct.Speed = GPIO_SPEED_FREQ_LOW;
	HAL_GPIO_Init(GPIOA, &GPIO_InitStruct);

	  /*Configure GPIO pin : PC4 */
	GPIO_InitStruct.Pin = GPIO_PIN_4;
	GPIO_InitStruct.Mode = GPIO_MODE_IT_RISING;
	GPIO_InitStruct.Pull = GPIO_NOPULL;
	HAL_GPIO_Init(GPIOC, &GPIO_InitStruct);

	  /*Configure GPIO pin : PC5 */
	GPIO_InitStruct.Pin = GPIO_PIN_5;
	GPIO_InitStruct.Mode = GPIO_MODE_OUTPUT_PP;
	GPIO_InitStruct.Pull = GPIO_NOPULL;
	GPIO_InitStruct.Speed = GPIO_SPEED_FREQ_LOW;
	HAL_GPIO_Init(GPIOC, &GPIO_InitStruct);

	  /*Configure GPIO pin : PB12 */
	GPIO_InitStruct.Pin = GPIO_PIN_12;
	GPIO_InitStruct.Mode = GPIO_MODE_OUTPUT_PP;
	GPIO_InitStruct.Pull = GPIO_NOPULL;
	GPIO_InitStruct.Speed = GPIO_SPEED_FREQ_LOW;
	HAL_GPIO_Init(GPIOB, &GPIO_InitStruct);

	  /* EXTI interrupt init*/
	HAL_NVIC_SetPriority(EXTI4_IRQn, 0, 0);
	HAL_NVIC_EnableIRQ(EXTI4_IRQn);

}

/* USER CODE BEGIN 4 */

static void CalculateBias(float* gyro_bias, float* accel_bias)
{
	ICM20689_SetGyroFullScaleRange(GFS_250DPS);
	ICM20689_SetAccelFullScaleRange(AFS_2G);

	int samples = 0;
	int32_t avg_gyro[3] = { 0 };
	int32_t avg_accel[3] = { 0 };

	while (samples < 400)
	{
		if (_imu_data_ready)
		{
			_imu_data_ready = 0;

			int16_t gyro[3];
			int16_t accel[3];
			ICM20689_ReadGyroRaw(gyro);
			ICM20689_ReadAccelRaw(accel);

			for (int i = 0; i < 3; i++)
				avg_gyro[i] += gyro[i];

			for (int i = 0; i < 3; i++)
				avg_accel[i] += accel[i];

			samples++;
		}
	}

	for (int i = 0; i < 3; i++)
	{
		avg_gyro[i] /= samples;
		gyro_bias[i] = (float)avg_gyro[i] * GyroScale[GFS_250DPS];
	}

	for (int i = 0; i < 3; i++)
	{
		avg_accel[i] /= samples;
		accel_bias[i] = (float)avg_accel[i] * AccelScale[AFS_2G];
	}

	accel_bias[2] -= 1.0f;

	ICM20689_SetGyroFullScaleRange(GFS_2000DPS);
	ICM20689_SetAccelFullScaleRange(AFS_16G);
}

/* USER CODE END 4 */

void Error_Handler(void)
{
}

/************************ (C) COPYRIGHT STMicroelectronics *****END OF FILE****/
